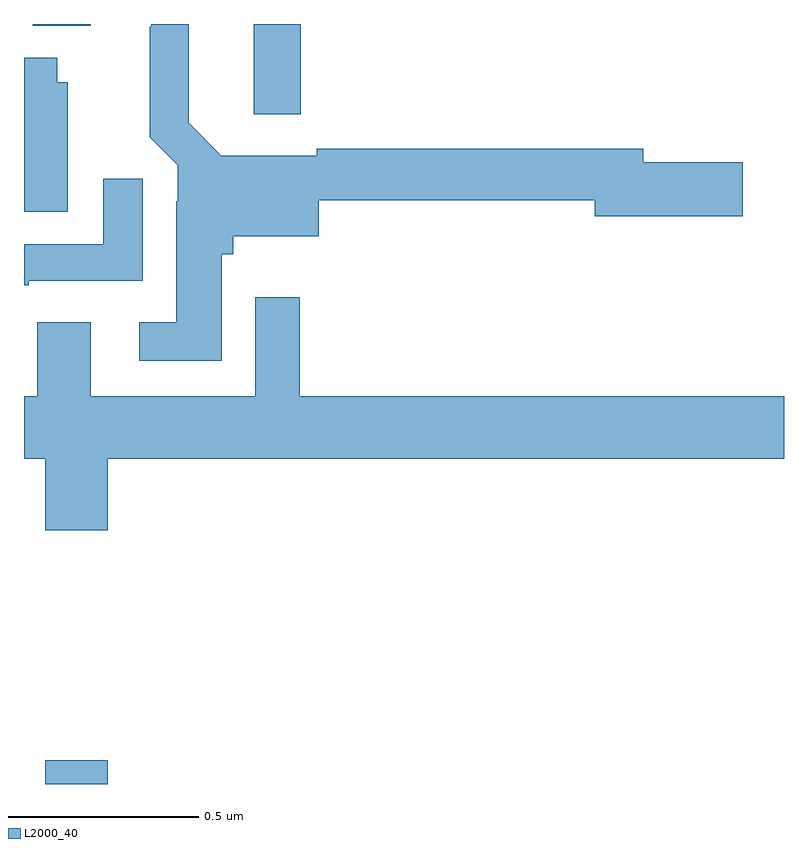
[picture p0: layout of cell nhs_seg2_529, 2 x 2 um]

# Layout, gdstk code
import gdstk
lib = gdstk.Library(unit=1e-6, precision=1e-09)
def R(c, l, rs):  # rectangles x0, y0, x1, y1
    for r in rs: c.add(gdstk.rectangle(r[:2], r[2:], *l))
def P(c, l, *ps):  # polygons
    for p in ps: c.add(gdstk.Polygon(p, *l))
L2000_40 = (2000, 40)

nhs_seg2_529 = lib.new_cell('nhs_seg2_529')
R(nhs_seg2_529, L2000_40, [(117.056,626.8,117.22,626.863), (117.605,628.563,117.728,628.8), (117.023,628.796,117.175,628.8)])
P(nhs_seg2_529, L2000_40, [(117.52,628.194),(117.551,628.194),(117.551,628.241),(117.775,628.241),(117.775,628.336),(118.502,628.336),(118.502,628.294),(118.891,628.294),(118.891,628.436),(118.63,628.436),(118.63,628.472),(117.771,628.472),(117.771,628.453),(117.519,628.453),(117.433,628.54),(117.433,628.8),(117.335,628.8),(117.335,628.793),(117.331,628.793),(117.331,628.502),(117.405,628.428),(117.405,628.334),(117.401,628.334),(117.401,628.015),(117.303,628.015),(117.303,627.914),(117.52,627.914)],
  [(117.115,628.647),(117.088,628.647),(117.088,628.711),(117,628.711),(117,628.306),(117.115,628.306)],
  [(117.013,628.125),(117.313,628.125),(117.313,628.393),(117.209,628.393),(117.209,628.221),(117,628.221),(117,628.113),(117.013,628.113)],
  [(117.22,627.656),(119,627.656),(119,627.82),(117.725,627.82),(117.725,628.081),(117.609,628.081),(117.609,627.82),(117.175,627.82),(117.175,628.015),(117.035,628.015),(117.035,627.82),(117,627.82),(117,627.656),(117.056,627.656),(117.056,627.468),(117.22,627.468)])

lib.write_gds('nhs_seg2_529.gds')
